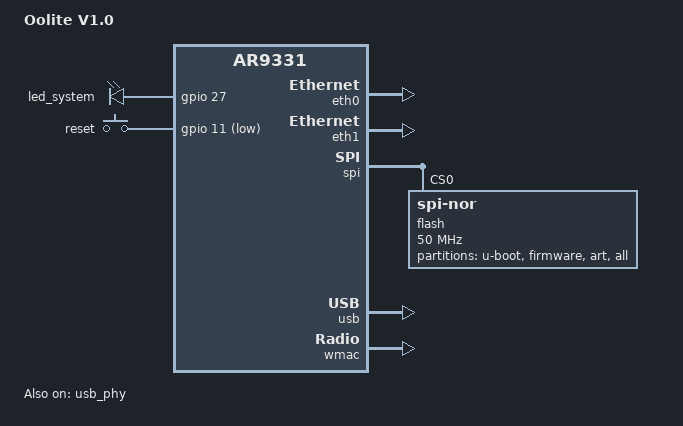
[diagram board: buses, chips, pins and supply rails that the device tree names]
// SPDX-License-Identifier: GPL-2.0-or-later OR MIT

#include "ar9331.dtsi"

#include <dt-bindings/gpio/gpio.h>
#include <dt-bindings/input/input.h>

/ {
	model = "Oolite V1.0";
	compatible = "gainstrong,oolite-v1.0", "qca,ar9331";

	aliases {
		label-mac-device = &wmac;
		led-boot = &led_system;
		led-failsafe = &led_system;
		led-upgrade = &led_system;
	};

	leds {
		compatible = "gpio-leds";
		pinctrl-names = "default";
		pinctrl-0 = <&switch_led_disable_pins>;

		led_system: led_system {
			label = "led_system";
			gpios = <&gpio 27 GPIO_ACTIVE_HIGH>;
		};
	};

	keys {
		compatible = "gpio-keys";

		reset {
			label = "reset";
			linux,code = <KEY_RESTART>;
			gpios = <&gpio 11 GPIO_ACTIVE_LOW>;
		};
	};
};

&eth0 {
	status = "okay";

	nvmem-cells = <&macaddr_uboot_1fc00 1>;
	nvmem-cell-names = "mac-address";
};

&eth1 {
	status = "okay";

	nvmem-cells = <&macaddr_uboot_1fc00 2>;
	nvmem-cell-names = "mac-address";
};

&spi {
	status = "okay";
	flash@0 {
		compatible = "jedec,spi-nor";
		reg = <0>;
		spi-max-frequency = <50000000>;
		m25p,fast-read;

		partitions {
			compatible = "fixed-partitions";
			#address-cells = <1>;
			#size-cells = <1>;

			uboot: partition@0 {
				label = "u-boot";
				reg = <0x000000 0x020000>;
				//read-only;

				nvmem-layout {
					compatible = "fixed-layout";
					#address-cells = <1>;
					#size-cells = <1>;

					macaddr_uboot_1fc00: macaddr@1fc00 {
						reg = <0x1fc00 0x6>;
					};
				};
			};

			firmware: partition@20000 {
				label = "firmware";
				reg = <0x20000 0xfd0000>;
				compatible = "tplink,firmware";
			};

			art: partition@art {
				label = "art";
	            reg = <0xff0000 0x10000>;
				//read-only;

				nvmem-layout {
					compatible = "fixed-layout";
					#address-cells = <1>;
					#size-cells = <1>;

					cal_art_1000: calibration@1000 {
						reg = <0x1000 0x440>;
					};
				};
			};

			partition@all {
	            reg = <0x0 0x0>;
				label = "all";
				//read-only;
			};
		};
	};
};

&usb {
	status = "okay";
};

&usb_phy {
	dr_mode = "host";
	status = "okay";
};

&wmac {
	status = "okay";

	nvmem-cells = <&macaddr_uboot_1fc00>, <&cal_art_1000>;
	nvmem-cell-names = "mac-address", "calibration";
};
